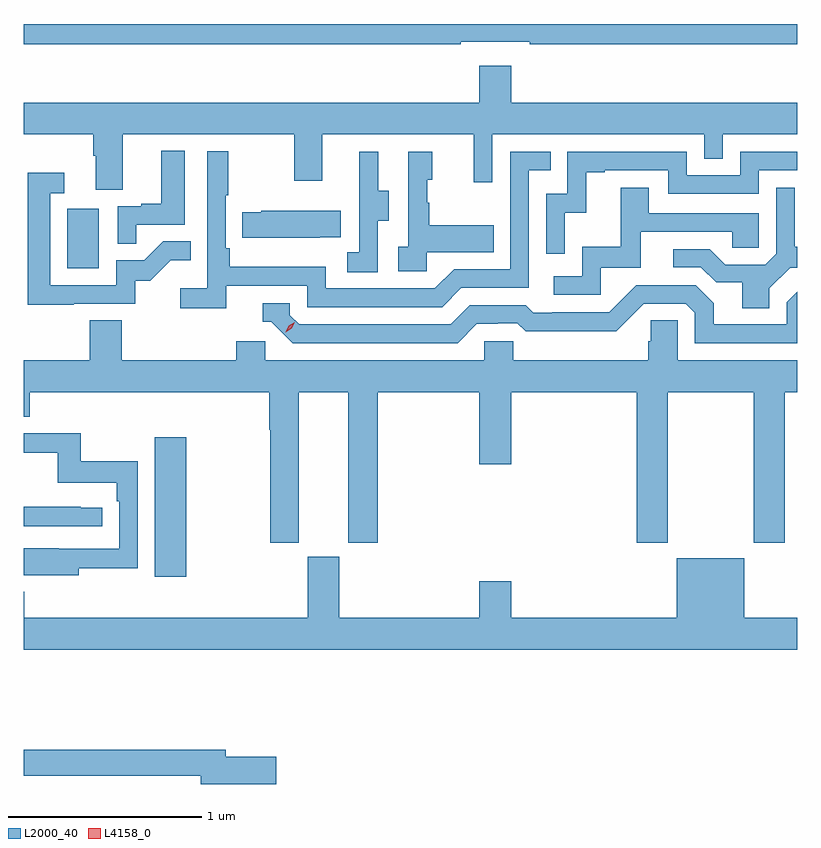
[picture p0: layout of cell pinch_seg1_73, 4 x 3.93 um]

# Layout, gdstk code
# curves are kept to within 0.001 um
import gdstk
lib = gdstk.Library(unit=1e-6, precision=1e-09)
def R(c, l, rs):  # rectangles x0, y0, x1, y1
    for r in rs: c.add(gdstk.rectangle(r[:2], r[2:], *l))
def P(c, l, *ps):  # polygons
    for p in ps: c.add(gdstk.Polygon(p, *l))
L2000_40 = (2000, 40)
L4158_0 = (4158, 0)

pinch_seg1_73 = lib.new_cell('pinch_seg1_73')
R(pinch_seg1_73, L2000_40, [(1038.455,580.08,1038.616,580.801), (1038.002,581.676,1038.166,581.983)])
P(pinch_seg1_73, L2000_40, [(1040.036,582.846),(1040.392,582.846),(1040.392,582.834),(1041.776,582.834),(1041.776,582.938),(1037.776,582.938),(1037.776,582.834),(1040.036,582.834)],
  [(1038.289,582.368),(1039.174,582.368),(1039.174,582.129),(1039.321,582.129),(1039.321,582.368),(1040.102,582.368),(1040.102,582.12),(1040.199,582.12),(1040.199,582.368),(1041.294,582.368),(1041.294,582.241),(1041.39,582.241),(1041.39,582.368),(1041.776,582.368),(1041.776,582.532),(1040.296,582.532),(1040.296,582.721),(1040.132,582.721),(1040.132,582.532),(1037.776,582.532),(1037.776,582.368),(1038.137,582.368),(1038.137,582.256),(1038.149,582.256),(1038.149,582.082),(1038.289,582.082)],
  [(1038.359,581.901),(1038.61,581.901),(1038.61,582.283),(1038.488,582.283),(1038.488,582.01),(1038.385,582.01),(1038.385,581.997),(1038.264,581.997),(1038.264,581.803),(1038.359,581.803)],
  [(1038.824,581.586),(1039.242,581.586),(1039.242,581.475),(1039.939,581.475),(1040.038,581.574),(1040.388,581.574),(1040.388,582.183),(1040.501,582.183),(1040.501,582.279),(1040.292,582.279),(1040.292,581.67),(1040.001,581.67),(1039.902,581.571),(1039.338,581.571),(1039.338,581.683),(1038.842,581.683),(1038.842,581.779),(1038.822,581.779),(1038.822,582.052),(1038.835,582.052),(1038.835,582.28),(1038.726,582.28),(1038.726,581.572),(1038.585,581.572),(1038.585,581.47),(1038.824,581.47)],
  [(1040.574,581.963),(1040.684,581.963),(1040.684,582.171),(1040.779,582.171),(1040.779,582.183),(1041.108,582.183),(1041.108,582.06),(1041.576,582.06),(1041.576,582.183),(1041.776,582.183),(1041.776,582.279),(1041.48,582.279),(1041.48,582.156),(1041.204,582.156),(1041.204,582.279),(1040.586,582.279),(1040.586,582.06),(1040.478,582.06),(1040.478,581.751),(1040.574,581.751)],
  [(1039.86,581.759),(1040.207,581.759),(1040.207,581.899),(1039.873,581.899),(1039.873,582.014),(1039.863,582.014),(1039.863,582.132),(1039.888,582.132),(1039.888,582.277),(1039.764,582.277),(1039.764,581.786),(1039.713,581.786),(1039.713,581.661),(1039.86,581.661)],
  [(1039.608,581.92),(1039.663,581.92),(1039.663,582.075),(1039.609,582.075),(1039.609,582.277),(1039.511,582.277),(1039.511,582.063),(1039.512,582.063),(1039.512,581.759),(1039.449,581.759),(1039.449,581.656),(1039.608,581.656)],
  [(1038.035,581.493),(1038.353,581.493),(1038.353,581.61),(1038.43,581.61),(1038.537,581.717),(1038.641,581.717),(1038.641,581.816),(1038.498,581.816),(1038.4,581.718),(1038.255,581.718),(1038.255,581.589),(1037.913,581.589),(1037.913,582.063),(1037.986,582.063),(1037.986,582.169),(1037.797,582.169),(1037.797,581.488),(1038.035,581.488)],
  [(1040.76,581.679),(1040.965,581.679),(1040.965,581.865),(1041.439,581.865),(1041.439,581.781),(1041.576,581.781),(1041.576,581.961),(1041.007,581.961),(1041.007,582.091),(1040.863,582.091),(1040.863,581.788),(1040.664,581.788),(1040.664,581.634),(1040.517,581.634),(1040.517,581.538),(1040.76,581.538)],
  [(1041.631,581.572),(1041.738,581.679),(1041.776,581.679),(1041.775,581.788),(1041.763,581.788),(1041.763,582.091),(1041.666,582.091),(1041.666,581.751),(1041.609,581.694),(1041.403,581.694),(1041.322,581.775),(1041.135,581.775),(1041.135,581.682),(1041.276,581.682),(1041.356,581.602),(1041.491,581.602),(1041.491,581.47),(1041.631,581.47)],
  [(1039.307,581.837),(1039.415,581.837),(1039.415,581.974),(1039.005,581.974),(1039.005,581.964),(1038.907,581.964),(1038.907,581.834),(1039.307,581.834)],
  [(1040.119,581.388),(1040.226,581.388),(1040.226,581.391),(1040.329,581.391),(1040.371,581.349),(1040.604,581.349),(1040.604,581.351),(1040.84,581.351),(1040.982,581.493),(1041.198,581.493),(1041.246,581.445),(1041.246,581.289),(1041.776,581.289),(1041.776,581.555),(1041.72,581.499),(1041.72,581.385),(1041.343,581.385),(1041.343,581.495),(1041.249,581.589),(1040.943,581.589),(1040.802,581.448),(1040.509,581.448),(1040.509,581.445),(1040.41,581.445),(1040.371,581.484),(1040.082,581.484),(1039.983,581.385),(1039.2,581.385),(1039.152,581.433),(1039.152,581.496),(1039.013,581.496),(1039.013,581.4),(1039.056,581.4),(1039.167,581.289),(1040.02,581.289)],
  [(1039.198,581.036),(1039.454,581.036),(1039.454,580.257),(1039.607,580.257),(1039.607,581.036),(1040.132,581.036),(1040.132,580.662),(1040.296,580.662),(1040.296,581.036),(1040.945,581.036),(1040.945,580.257),(1041.105,580.257),(1041.105,581.036),(1041.55,581.036),(1041.55,580.257),(1041.71,580.257),(1041.71,581.036),(1041.776,581.036),(1041.776,581.2),(1041.156,581.2),(1041.156,581.408),(1041.019,581.408),(1041.019,581.298),(1041.005,581.298),(1041.005,581.2),(1040.307,581.2),(1040.307,581.298),(1040.157,581.298),(1040.157,581.2),(1039.026,581.2),(1039.026,581.298),(1038.875,581.298),(1038.875,581.2),(1038.284,581.2),(1038.284,581.408),(1038.119,581.408),(1038.119,581.2),(1037.776,581.2),(1037.776,580.909),(1037.807,580.909),(1037.807,581.036),(1039.046,581.036),(1039.046,580.84),(1039.051,580.84),(1039.051,580.257),(1039.198,580.257)],
  [(1038.061,580.126),(1038.366,580.126),(1038.366,580.678),(1038.073,580.678),(1038.073,580.824),(1037.776,580.824),(1037.776,580.723),(1037.952,580.723),(1037.952,580.568),(1038.257,580.568),(1038.257,580.472),(1038.27,580.472),(1038.27,580.227),(1037.957,580.227),(1037.957,580.228),(1037.776,580.228),(1037.776,580.088),(1038.061,580.088)],
  [(1038.184,580.437),(1038.071,580.437),(1038.071,580.442),(1037.776,580.442),(1037.776,580.341),(1038.184,580.341)],
  [(1041.776,579.868),(1041.502,579.868),(1041.502,580.177),(1041.152,580.177),(1041.152,579.868),(1040.296,579.868),(1040.296,580.057),(1040.132,580.057),(1040.132,579.868),(1039.408,579.868),(1039.408,580.185),(1039.244,580.185),(1039.244,579.868),(1037.78,579.868),(1037.78,580.003),(1037.776,580.003),(1037.776,579.704),(1041.776,579.704)],
  [(1039.081,579.152),(1038.82,579.152),(1038.82,579.188),(1037.776,579.188),(1037.776,579.052),(1038.692,579.052),(1038.692,579.01),(1039.081,579.01)])
P(pinch_seg1_73, L4158_0, [(1039.13,581.346),(1039.13,581.346),(1039.146,581.378),(1039.177,581.397),(1039.178,581.397),(1039.178,581.397),(1039.161,581.365),(1039.13,581.346)])

lib.write_gds('pinch_seg1_73.gds')
